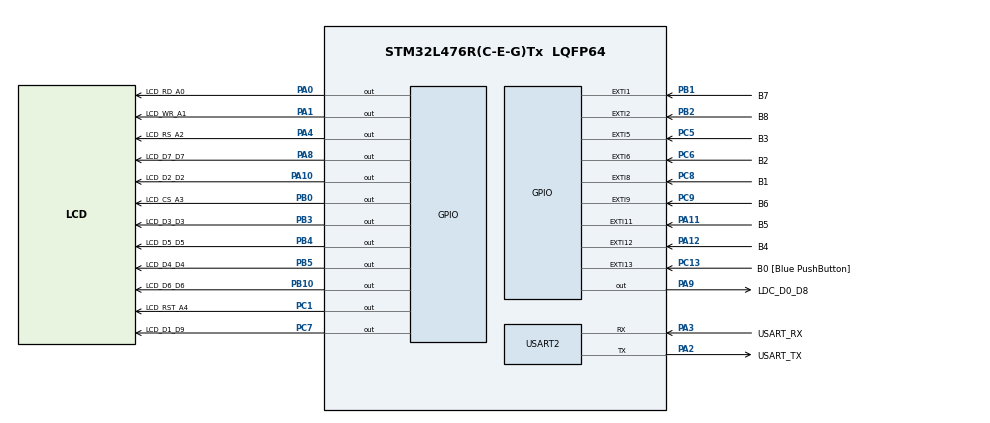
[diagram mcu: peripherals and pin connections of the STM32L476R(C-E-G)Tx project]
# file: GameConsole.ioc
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Mcu.Family=STM32L4
Mcu.Name=STM32L476R(C-E-G)Tx
Mcu.Package=LQFP64
NVIC.EXTI15_10_IRQn=true\:5\:0\:true\:false\:true\:true\:true\:true
NVIC.EXTI1_IRQn=true\:0\:0\:false\:false\:true\:true\:true\:true
NVIC.EXTI2_IRQn=true\:0\:0\:false\:false\:true\:true\:true\:true
NVIC.EXTI9_5_IRQn=true\:5\:0\:true\:false\:true\:true\:true\:true
NVIC.PriorityGroup=NVIC_PRIORITYGROUP_4
PA0.GPIO_Label=LCD_RD_A0
PA0.Signal=GPIO_Output
PA1.GPIO_Label=LCD_WR_A1
PA1.Signal=GPIO_Output
PA10.GPIO_Label=LCD_D2_D2
PA10.Signal=GPIO_Output
PA11.GPIO_Label=B5
PA11.Signal=GPXTI11
PA12.GPIO_Label=B4
PA12.GPIO_ModeDefaultEXTI=GPIO_MODE_IT_RISING_FALLING
PA12.GPIO_PuPd=GPIO_PULLUP
PA12.Signal=GPXTI12
PA13\ (JTMS-SWDIO).GPIO_Label=TMS
PA13\ (JTMS-SWDIO).Mode=Serial_Wire
PA13\ (JTMS-SWDIO).Signal=SYS_JTMS-SWDIO
PA14\ (JTCK-SWCLK).GPIO_Label=TCK
PA14\ (JTCK-SWCLK).Mode=Serial_Wire
PA14\ (JTCK-SWCLK).Signal=SYS_JTCK-SWCLK
PA2.GPIO_Label=USART_TX
PA2.GPIO_Mode=GPIO_MODE_AF_PP
PA2.GPIO_PuPd=GPIO_NOPULL
PA2.GPIO_Speed=GPIO_SPEED_FREQ_VERY_HIGH
PA2.Mode=Asynchronous
PA2.Signal=USART2_TX
PA3.GPIO_Label=USART_RX
PA3.GPIO_Mode=GPIO_MODE_AF_PP
PA3.GPIO_PuPd=GPIO_NOPULL
PA3.GPIO_Speed=GPIO_SPEED_FREQ_VERY_HIGH
PA3.Mode=Asynchronous
PA3.Signal=USART2_RX
PA4.GPIO_Label=LCD_RS_A2
PA4.Signal=GPIO_Output
PA8.GPIO_Label=LCD_D7_D7
PA8.Signal=GPIO_Output
PA9.GPIO_Label=LDC_D0_D8
PA9.Signal=GPIO_Output
PB0.GPIO_Label=LCD_CS_A3
PB0.Signal=GPIO_Output
PB1.GPIO_Label=B7
PB1.Signal=GPXTI1
PB10.GPIO_Label=LCD_D6_D6
PB10.Signal=GPIO_Output
PB2.GPIO_Label=B8
PB2.Signal=GPXTI2
PB3\ (JTDO-TRACESWO).GPIO_Label=LCD_D3_D3
PB3\ (JTDO-TRACESWO).Signal=GPIO_Output
PB4\ (NJTRST).GPIO_Label=LCD_D5_D5
PB4\ (NJTRST).Signal=GPIO_Output
PB5.GPIO_Label=LCD_D4_D4
PB5.Signal=GPIO_Output
PC1.GPIO_Label=LCD_RST_A4
PC1.Signal=GPIO_Output
PC13.GPIO_Label=B0 [Blue PushButton]
PC13.GPIO_ModeDefaultEXTI=GPIO_MODE_IT_RISING_FALLING
PC13.GPIO_PuPd=GPIO_NOPULL
PC13.Signal=GPXTI13
PC14-OSC32_IN\ (PC14).Mode=LSE-External-Oscillator
PC14-OSC32_IN\ (PC14).Signal=RCC_OSC32_IN
PC15-OSC32_OUT\ (PC15).Mode=LSE-External-Oscillator
PC15-OSC32_OUT\ (PC15).Signal=RCC_OSC32_OUT
PC5.GPIO_Label=B3
PC5.GPIO_ModeDefaultEXTI=GPIO_MODE_IT_RISING_FALLING
PC5.GPIO_PuPd=GPIO_PULLUP
PC5.Signal=GPXTI5
PC6.GPIO_Label=B2
PC6.GPIO_ModeDefaultEXTI=GPIO_MODE_IT_RISING_FALLING
PC6.GPIO_PuPd=GPIO_PULLUP
PC6.Signal=GPXTI6
PC7.GPIO_Label=LCD_D1_D9
PC7.Signal=GPIO_Output
PC8.GPIO_Label=B1
PC8.GPIO_ModeDefaultEXTI=GPIO_MODE_IT_RISING_FALLING
PC8.GPIO_PuPd=GPIO_PULLUP
PC8.Signal=GPXTI8
PC9.GPIO_Label=B6
PC9.Signal=GPXTI9
PH0-OSC_IN\ (PH0).Signal=RCC_OSC_IN
PH1-OSC_OUT\ (PH1).Signal=RCC_OSC_OUT
ProjectManager.HeapSize=0x200
ProjectManager.StackSize=0x400
ProjectManager.TargetToolchain=STM32CubeIDE
RCC.ADCFreq_Value=64000000
RCC.AHBFreq_Value=80000000
RCC.APB1Freq_Value=80000000
RCC.APB1TimFreq_Value=80000000
RCC.APB2Freq_Value=80000000
RCC.APB2TimFreq_Value=80000000
RCC.CortexFreq_Value=80000000
RCC.HCLKFreq_Value=80000000
RCC.HSE_VALUE=8000000
RCC.HSI_VALUE=16000000
RCC.MSI_VALUE=4000000
RCC.PLLN=10
RCC.PLLSAI1Q=RCC_PLLQ_DIV4
RCC.PLLSourceVirtual=RCC_PLLSOURCE_HSI
RCC.PREFETCH_ENABLE=1
RCC.SYSCLKFreq_VALUE=80000000
RCC.SYSCLKSource=RCC_SYSCLKSOURCE_PLLCLK
RCC.USBFreq_Value=32000000
RCC.VCOOutputFreq_Value=160000000
USART2.VirtualMode-Asynchronous=VM_ASYNC
VP_RNG_VS_RNG.Mode=RNG_Activate
board=NUCLEO-L476RG

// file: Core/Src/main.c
/* USER CODE BEGIN Header */
/**
 ******************************************************************************
 * @file           : main.c
 * @brief          : Main program body
 ******************************************************************************
 * @attention
 *
 * Copyright (c) 2022 STMicroelectronics.
 * All rights reserved.
 *
 * This software is licensed under terms that can be found in the LICENSE file
 * in the root directory of this software component.
 * If no LICENSE file comes with this software, it is provided AS-IS.
 *
 ******************************************************************************
 */
/* USER CODE END Header */
#include "main.h"

/* USER CODE BEGIN Includes */
#include <string.h>
#include "tty_driver.h"
#include "log.h"
#include "input.h"
#include "gameEngine.h"
#include "lcd.h"
#include "graphics.h"
/* USER CODE END Includes */

/* USER CODE BEGIN PD */
#define FPS 30
#define FRAMERATE 1000 / FPS
/* USER CODE END PD */

void SystemClock_Config(void);
void PeriphCommonClock_Config(void);
static void MX_GPIO_Init(void);
static void MX_USART2_UART_Init(void);
static void MX_RNG_Init(void);

int main(void)
{

  /* MCU Configuration--------------------------------------------------------*/

  /* Reset of all peripherals, Initializes the Flash interface and the Systick. */
  LL_APB2_GRP1_EnableClock(LL_APB2_GRP1_PERIPH_SYSCFG);
  LL_APB1_GRP1_EnableClock(LL_APB1_GRP1_PERIPH_PWR);

  /* System interrupt init*/
  NVIC_SetPriorityGrouping(NVIC_PRIORITYGROUP_4);

  /* Configure the system clock */
  SystemClock_Config();

/* Configure the peripherals common clocks */
  PeriphCommonClock_Config();

  /* Initialize all configured peripherals */
  MX_GPIO_Init();
  MX_USART2_UART_Init();
  MX_RNG_Init();
  /* USER CODE BEGIN 2 */
  // Driver init
  tty_open();
  LL_SYSTICK_EnableIT();
  initInputs();
  LCDInit();

  // Game loop init
  init();
  initTimers();
  render();
  /* USER CODE END 2 */

  /* Infinite loop */
  /* USER CODE BEGIN WHILE */
  u32 startFrameTime = 0;
  u32 processingTime = 0;

  while (1)
  {
    /* USER CODE END WHILE */

    /* USER CODE BEGIN 3 */

	updateFrameTime();
    startFrameTime = getTimeMs();
    update();
    render();
    processingTime = getTimeMs() - startFrameTime;
    if (processingTime < FRAMERATE)
    {
      LL_mDelay(FRAMERATE - processingTime);
    }
  }
  /* USER CODE END 3 */
}

void SystemClock_Config(void)
{
  LL_FLASH_SetLatency(LL_FLASH_LATENCY_4);
  while(LL_FLASH_GetLatency()!= LL_FLASH_LATENCY_4)
  {
  }
  LL_PWR_SetRegulVoltageScaling(LL_PWR_REGU_VOLTAGE_SCALE1);
  LL_RCC_HSI_Enable();

   /* Wait till HSI is ready */
  while(LL_RCC_HSI_IsReady() != 1)
  {

  }
  LL_RCC_HSI_SetCalibTrimming(16);
  LL_RCC_PLL_ConfigDomain_SYS(LL_RCC_PLLSOURCE_HSI, LL_RCC_PLLM_DIV_1, 10, LL_RCC_PLLR_DIV_2);
  LL_RCC_PLL_EnableDomain_SYS();
  LL_RCC_PLL_Enable();

   /* Wait till PLL is ready */
  while(LL_RCC_PLL_IsReady() != 1)
  {

  }
  LL_RCC_SetSysClkSource(LL_RCC_SYS_CLKSOURCE_PLL);

   /* Wait till System clock is ready */
  while(LL_RCC_GetSysClkSource() != LL_RCC_SYS_CLKSOURCE_STATUS_PLL)
  {

  }
  LL_RCC_SetAHBPrescaler(LL_RCC_SYSCLK_DIV_1);
  LL_RCC_SetAPB1Prescaler(LL_RCC_APB1_DIV_1);
  LL_RCC_SetAPB2Prescaler(LL_RCC_APB2_DIV_1);

  LL_Init1msTick(80000000);

  LL_SetSystemCoreClock(80000000);
}

void PeriphCommonClock_Config(void)
{
  LL_RCC_PLLSAI1_ConfigDomain_48M(LL_RCC_PLLSOURCE_HSI, LL_RCC_PLLM_DIV_1, 8, LL_RCC_PLLSAI1Q_DIV_4);
  LL_RCC_PLLSAI1_EnableDomain_48M();
  LL_RCC_PLLSAI1_Enable();

   /* Wait till PLLSAI1 is ready */
  while(LL_RCC_PLLSAI1_IsReady() != 1)
  {

  }
}

static void MX_RNG_Init(void)
{

  LL_RCC_SetRNGClockSource(LL_RCC_RNG_CLKSOURCE_PLLSAI1);

  /* Peripheral clock enable */
  LL_AHB2_GRP1_EnableClock(LL_AHB2_GRP1_PERIPH_RNG);

  LL_RNG_Enable(RNG);

}

static void MX_USART2_UART_Init(void)
{

  LL_USART_InitTypeDef USART_InitStruct = {0};

  LL_GPIO_InitTypeDef GPIO_InitStruct = {0};

  LL_RCC_SetUSARTClockSource(LL_RCC_USART2_CLKSOURCE_PCLK1);

  /* Peripheral clock enable */
  LL_APB1_GRP1_EnableClock(LL_APB1_GRP1_PERIPH_USART2);

  LL_AHB2_GRP1_EnableClock(LL_AHB2_GRP1_PERIPH_GPIOA);
  /**USART2 GPIO Configuration
  PA2   ------> USART2_TX
  PA3   ------> USART2_RX
  */
  GPIO_InitStruct.Pin = USART_TX_Pin|USART_RX_Pin;
  GPIO_InitStruct.Mode = LL_GPIO_MODE_ALTERNATE;
  GPIO_InitStruct.Speed = LL_GPIO_SPEED_FREQ_VERY_HIGH;
  GPIO_InitStruct.OutputType = LL_GPIO_OUTPUT_PUSHPULL;
  GPIO_InitStruct.Pull = LL_GPIO_PULL_NO;
  GPIO_InitStruct.Alternate = LL_GPIO_AF_7;
  LL_GPIO_Init(GPIOA, &GPIO_InitStruct);

  USART_InitStruct.BaudRate = 115200;
  USART_InitStruct.DataWidth = LL_USART_DATAWIDTH_8B;
  USART_InitStruct.StopBits = LL_USART_STOPBITS_1;
  USART_InitStruct.Parity = LL_USART_PARITY_NONE;
  USART_InitStruct.TransferDirection = LL_USART_DIRECTION_TX_RX;
  USART_InitStruct.HardwareFlowControl = LL_USART_HWCONTROL_NONE;
  USART_InitStruct.OverSampling = LL_USART_OVERSAMPLING_16;
  LL_USART_Init(USART2, &USART_InitStruct);
  LL_USART_ConfigAsyncMode(USART2);
  LL_USART_Enable(USART2);

}

static void MX_GPIO_Init(void)
{
  LL_EXTI_InitTypeDef EXTI_InitStruct = {0};
  LL_GPIO_InitTypeDef GPIO_InitStruct = {0};

  /* GPIO Ports Clock Enable */
  LL_AHB2_GRP1_EnableClock(LL_AHB2_GRP1_PERIPH_GPIOC);
  LL_AHB2_GRP1_EnableClock(LL_AHB2_GRP1_PERIPH_GPIOH);
  LL_AHB2_GRP1_EnableClock(LL_AHB2_GRP1_PERIPH_GPIOA);
  LL_AHB2_GRP1_EnableClock(LL_AHB2_GRP1_PERIPH_GPIOB);

  /**/
  LL_GPIO_ResetOutputPin(GPIOC, LCD_RST_A4_Pin|LCD_D1_D9_Pin);

  /**/
  LL_GPIO_ResetOutputPin(GPIOA, LCD_RD_A0_Pin|LCD_WR_A1_Pin|LCD_RS_A2_Pin|LCD_D7_D7_Pin
                          |LDC_D0_D8_Pin|LCD_D2_D2_Pin);

  /**/
  LL_GPIO_ResetOutputPin(GPIOB, LCD_CS_A3_Pin|LCD_D6_D6_Pin|LCD_D3_D3_Pin|LCD_D5_D5_Pin
                          |LCD_D4_D4_Pin);

  /**/
  LL_SYSCFG_SetEXTISource(LL_SYSCFG_EXTI_PORTC, LL_SYSCFG_EXTI_LINE13);

  /**/
  LL_SYSCFG_SetEXTISource(LL_SYSCFG_EXTI_PORTC, LL_SYSCFG_EXTI_LINE5);

  /**/
  LL_SYSCFG_SetEXTISource(LL_SYSCFG_EXTI_PORTB, LL_SYSCFG_EXTI_LINE1);

  /**/
  LL_SYSCFG_SetEXTISource(LL_SYSCFG_EXTI_PORTB, LL_SYSCFG_EXTI_LINE2);

  /**/
  LL_SYSCFG_SetEXTISource(LL_SYSCFG_EXTI_PORTC, LL_SYSCFG_EXTI_LINE6);

  /**/
  LL_SYSCFG_SetEXTISource(LL_SYSCFG_EXTI_PORTC, LL_SYSCFG_EXTI_LINE8);

  /**/
  LL_SYSCFG_SetEXTISource(LL_SYSCFG_EXTI_PORTC, LL_SYSCFG_EXTI_LINE9);

  /**/
  LL_SYSCFG_SetEXTISource(LL_SYSCFG_EXTI_PORTA, LL_SYSCFG_EXTI_LINE11);

  /**/
  LL_SYSCFG_SetEXTISource(LL_SYSCFG_EXTI_PORTA, LL_SYSCFG_EXTI_LINE12);

  /**/
  EXTI_InitStruct.Line_0_31 = LL_EXTI_LINE_13;
  EXTI_InitStruct.Line_32_63 = LL_EXTI_LINE_NONE;
  EXTI_InitStruct.LineCommand = ENABLE;
  EXTI_InitStruct.Mode = LL_EXTI_MODE_IT;
  EXTI_InitStruct.Trigger = LL_EXTI_TRIGGER_RISING_FALLING;
  LL_EXTI_Init(&EXTI_InitStruct);

  /**/
  EXTI_InitStruct.Line_0_31 = LL_EXTI_LINE_5;
  EXTI_InitStruct.Line_32_63 = LL_EXTI_LINE_NONE;
  EXTI_InitStruct.LineCommand = ENABLE;
  EXTI_InitStruct.Mode = LL_EXTI_MODE_IT;
  EXTI_InitStruct.Trigger = LL_EXTI_TRIGGER_RISING_FALLING;
  LL_EXTI_Init(&EXTI_InitStruct);

  /**/
  EXTI_InitStruct.Line_0_31 = LL_EXTI_LINE_1;
  EXTI_InitStruct.Line_32_63 = LL_EXTI_LINE_NONE;
  EXTI_InitStruct.LineCommand = ENABLE;
  EXTI_InitStruct.Mode = LL_EXTI_MODE_IT;
  EXTI_InitStruct.Trigger = LL_EXTI_TRIGGER_RISING;
  LL_EXTI_Init(&EXTI_InitStruct);

  /**/
  EXTI_InitStruct.Line_0_31 = LL_EXTI_LINE_2;
  EXTI_InitStruct.Line_32_63 = LL_EXTI_LINE_NONE;
  EXTI_InitStruct.LineCommand = ENABLE;
  EXTI_InitStruct.Mode = LL_EXTI_MODE_IT;
  EXTI_InitStruct.Trigger = LL_EXTI_TRIGGER_RISING;
  LL_EXTI_Init(&EXTI_InitStruct);

  /**/
  EXTI_InitStruct.Line_0_31 = LL_EXTI_LINE_6;
  EXTI_InitStruct.Line_32_63 = LL_EXTI_LINE_NONE;
  EXTI_InitStruct.LineCommand = ENABLE;
  EXTI_InitStruct.Mode = LL_EXTI_MODE_IT;
  EXTI_InitStruct.Trigger = LL_EXTI_TRIGGER_RISING_FALLING;
  LL_EXTI_Init(&EXTI_InitStruct);

  /**/
  EXTI_InitStruct.Line_0_31 = LL_EXTI_LINE_8;
  EXTI_InitStruct.Line_32_63 = LL_EXTI_LINE_NONE;
  EXTI_InitStruct.LineCommand = ENABLE;
  EXTI_InitStruct.Mode = LL_EXTI_MODE_IT;
  EXTI_InitStruct.Trigger = LL_EXTI_TRIGGER_RISING_FALLING;
  LL_EXTI_Init(&EXTI_InitStruct);

  /**/
  EXTI_InitStruct.Line_0_31 = LL_EXTI_LINE_9;
  EXTI_InitStruct.Line_32_63 = LL_EXTI_LINE_NONE;
  EXTI_InitStruct.LineCommand = ENABLE;
  EXTI_InitStruct.Mode = LL_EXTI_MODE_IT;
  EXTI_InitStruct.Trigger = LL_EXTI_TRIGGER_RISING;
  LL_EXTI_Init(&EXTI_InitStruct);

  /**/
  EXTI_InitStruct.Line_0_31 = LL_EXTI_LINE_11;
  EXTI_InitStruct.Line_32_63 = LL_EXTI_LINE_NONE;
  EXTI_InitStruct.LineCommand = ENABLE;
  EXTI_InitStruct.Mode = LL_EXTI_MODE_IT;
  EXTI_InitStruct.Trigger = LL_EXTI_TRIGGER_RISING;
  LL_EXTI_Init(&EXTI_InitStruct);

  /**/
  EXTI_InitStruct.Line_0_31 = LL_EXTI_LINE_12;
  EXTI_InitStruct.Line_32_63 = LL_EXTI_LINE_NONE;
  EXTI_InitStruct.LineCommand = ENABLE;
  EXTI_InitStruct.Mode = LL_EXTI_MODE_IT;
  EXTI_InitStruct.Trigger = LL_EXTI_TRIGGER_RISING_FALLING;
  LL_EXTI_Init(&EXTI_InitStruct);

  /**/
  LL_GPIO_SetPinPull(B0_GPIO_Port, B0_Pin, LL_GPIO_PULL_NO);

  /**/
  LL_GPIO_SetPinPull(B3_GPIO_Port, B3_Pin, LL_GPIO_PULL_UP);

  /**/
  LL_GPIO_SetPinPull(B7_GPIO_Port, B7_Pin, LL_GPIO_PULL_NO);

  /**/
  LL_GPIO_SetPinPull(B8_GPIO_Port, B8_Pin, LL_GPIO_PULL_NO);

  /**/
  LL_GPIO_SetPinPull(B2_GPIO_Port, B2_Pin, LL_GPIO_PULL_UP);

  /**/
  LL_GPIO_SetPinPull(B1_GPIO_Port, B1_Pin, LL_GPIO_PULL_UP);

  /**/
  LL_GPIO_SetPinPull(B6_GPIO_Port, B6_Pin, LL_GPIO_PULL_NO);

  /**/
  LL_GPIO_SetPinPull(B5_GPIO_Port, B5_Pin, LL_GPIO_PULL_NO);

  /**/
  LL_GPIO_SetPinPull(B4_GPIO_Port, B4_Pin, LL_GPIO_PULL_UP);

  /**/
  LL_GPIO_SetPinMode(B0_GPIO_Port, B0_Pin, LL_GPIO_MODE_INPUT);

  /**/
  LL_GPIO_SetPinMode(B3_GPIO_Port, B3_Pin, LL_GPIO_MODE_INPUT);

  /**/
  LL_GPIO_SetPinMode(B7_GPIO_Port, B7_Pin, LL_GPIO_MODE_INPUT);

  /**/
  LL_GPIO_SetPinMode(B8_GPIO_Port, B8_Pin, LL_GPIO_MODE_INPUT);

  /**/
  LL_GPIO_SetPinMode(B2_GPIO_Port, B2_Pin, LL_GPIO_MODE_INPUT);

  /**/
  LL_GPIO_SetPinMode(B1_GPIO_Port, B1_Pin, LL_GPIO_MODE_INPUT);

  /**/
  LL_GPIO_SetPinMode(B6_GPIO_Port, B6_Pin, LL_GPIO_MODE_INPUT);

  /**/
  LL_GPIO_SetPinMode(B5_GPIO_Port, B5_Pin, LL_GPIO_MODE_INPUT);

  /**/
  LL_GPIO_SetPinMode(B4_GPIO_Port, B4_Pin, LL_GPIO_MODE_INPUT);

  /**/
  GPIO_InitStruct.Pin = LCD_RST_A4_Pin|LCD_D1_D9_Pin;
  GPIO_InitStruct.Mode = LL_GPIO_MODE_OUTPUT;
  GPIO_InitStruct.Speed = LL_GPIO_SPEED_FREQ_LOW;
  GPIO_InitStruct.OutputType = LL_GPIO_OUTPUT_PUSHPULL;
  GPIO_InitStruct.Pull = LL_GPIO_PULL_NO;
  LL_GPIO_Init(GPIOC, &GPIO_InitStruct);

  /**/
  GPIO_InitStruct.Pin = LCD_RD_A0_Pin|LCD_WR_A1_Pin|LCD_RS_A2_Pin|LCD_D7_D7_Pin
                          |LDC_D0_D8_Pin|LCD_D2_D2_Pin;
  GPIO_InitStruct.Mode = LL_GPIO_MODE_OUTPUT;
  GPIO_InitStruct.Speed = LL_GPIO_SPEED_FREQ_LOW;
  GPIO_InitStruct.OutputType = LL_GPIO_OUTPUT_PUSHPULL;
  GPIO_InitStruct.Pull = LL_GPIO_PULL_NO;
  LL_GPIO_Init(GPIOA, &GPIO_InitStruct);

  /**/
  GPIO_InitStruct.Pin = LCD_CS_A3_Pin|LCD_D6_D6_Pin|LCD_D3_D3_Pin|LCD_D5_D5_Pin
                          |LCD_D4_D4_Pin;
  GPIO_InitStruct.Mode = LL_GPIO_MODE_OUTPUT;
  GPIO_InitStruct.Speed = LL_GPIO_SPEED_FREQ_LOW;
  GPIO_InitStruct.OutputType = LL_GPIO_OUTPUT_PUSHPULL;
  GPIO_InitStruct.Pull = LL_GPIO_PULL_NO;
  LL_GPIO_Init(GPIOB, &GPIO_InitStruct);

  /* EXTI interrupt init*/
  NVIC_SetPriority(EXTI1_IRQn, NVIC_EncodePriority(NVIC_GetPriorityGrouping(),0, 0));
  NVIC_EnableIRQ(EXTI1_IRQn);
  NVIC_SetPriority(EXTI2_IRQn, NVIC_EncodePriority(NVIC_GetPriorityGrouping(),0, 0));
  NVIC_EnableIRQ(EXTI2_IRQn);
  NVIC_SetPriority(EXTI9_5_IRQn, NVIC_EncodePriority(NVIC_GetPriorityGrouping(),5, 0));
  NVIC_EnableIRQ(EXTI9_5_IRQn);
  NVIC_SetPriority(EXTI15_10_IRQn, NVIC_EncodePriority(NVIC_GetPriorityGrouping(),5, 0));
  NVIC_EnableIRQ(EXTI15_10_IRQn);

}

void Error_Handler(void)
{
  __disable_irq();
  while (1)
  {
  }
}
